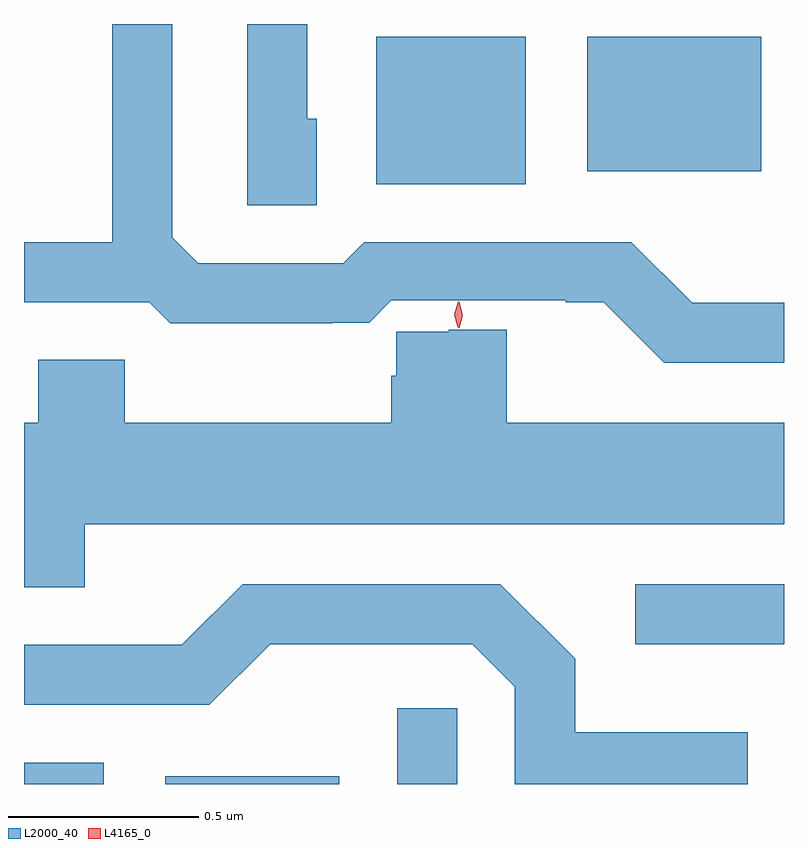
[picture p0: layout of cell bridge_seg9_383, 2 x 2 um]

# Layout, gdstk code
import gdstk
lib = gdstk.Library(unit=1e-6, precision=1e-09)
def R(c, l, rs):  # rectangles x0, y0, x1, y1
    for r in rs: c.add(gdstk.rectangle(r[:2], r[2:], *l))
def P(c, l, *ps):  # polygons
    for p in ps: c.add(gdstk.Polygon(p, *l))
L2000_40 = (2000, 40)
L4165_0 = (4165, 0)

bridge_seg9_383 = lib.new_cell('bridge_seg9_383')
R(bridge_seg9_383, L2000_40, [(966.504,1984.473,966.714,1984.529), (966.876,1984.473,967.334,1984.494), (967.486,1984.473,967.644,1984.673), (968.113,1984.841,968.504,1984.999), (967.431,1986.051,967.824,1986.439), (967.986,1986.086,968.444,1986.439)])
P(bridge_seg9_383, L2000_40, [(968.504,1985.739),(968.262,1985.739),(968.102,1985.899),(967.399,1985.899),(967.344,1985.844),(966.962,1985.844),(966.894,1985.912),(966.894,1986.473),(966.736,1986.473),(966.736,1985.899),(966.504,1985.899),(966.504,1985.741),(966.834,1985.741),(966.889,1985.686),(967.315,1985.686),(967.315,1985.687),(967.412,1985.687),(967.471,1985.746),(967.93,1985.746),(967.93,1985.741),(968.029,1985.741),(968.189,1985.581),(968.504,1985.581)],
  [(967.274,1986.224),(967.249,1986.224),(967.249,1986.473),(967.091,1986.473),(967.091,1985.996),(967.274,1985.996)],
  [(966.664,1985.156),(968.504,1985.156),(968.504,1985.424),(967.774,1985.424),(967.774,1985.668),(967.622,1985.668),(967.622,1985.663),(967.484,1985.663),(967.484,1985.548),(967.47,1985.548),(967.47,1985.424),(966.769,1985.424),(966.769,1985.589),(966.541,1985.589),(966.541,1985.424),(966.504,1985.424),(966.504,1984.991),(966.664,1984.991)],
  [(968.409,1984.609),(967.954,1984.609),(967.954,1984.802),(967.757,1984.999),(967.079,1984.999),(966.919,1984.839),(966.504,1984.839),(966.504,1984.681),(966.992,1984.681),(967.152,1984.841),(967.684,1984.841),(967.796,1984.729),(967.796,1984.473),(968.409,1984.473)])
P(bridge_seg9_383, L4165_0, [(967.648,1985.672),(967.648,1985.672),(967.638,1985.707),(967.648,1985.742),(967.648,1985.743),(967.649,1985.742),(967.658,1985.707),(967.649,1985.672)],
  [(967.645,1985.675),(967.636,1985.708),(967.645,1985.74),(967.646,1985.741),(967.646,1985.74),(967.656,1985.708),(967.646,1985.675),(967.646,1985.675)])

lib.write_gds('bridge_seg9_383.gds')
